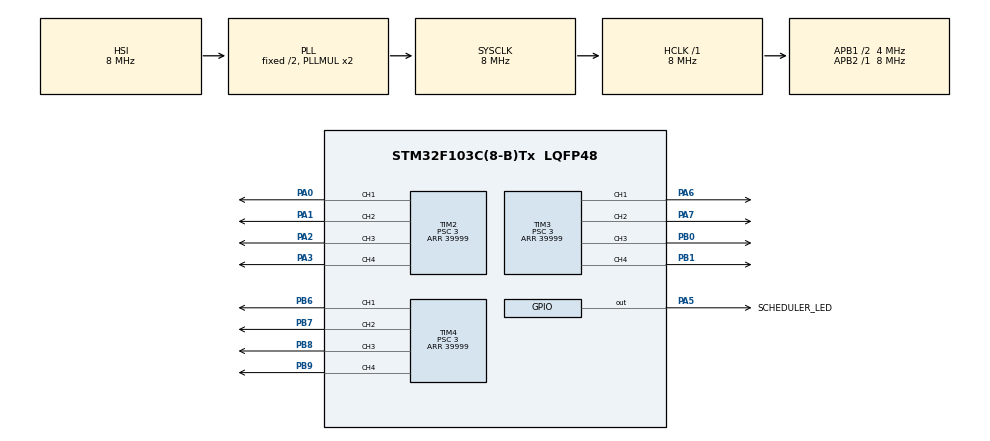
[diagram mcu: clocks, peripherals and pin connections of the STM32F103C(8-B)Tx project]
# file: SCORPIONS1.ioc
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Mcu.Family=STM32F1
Mcu.Name=STM32F103C(8-B)Tx
Mcu.Package=LQFP48
NVIC.PriorityGroup=NVIC_PRIORITYGROUP_4
NVIC.TIM1_BRK_IRQn=true\:0\:0\:false\:false\:true\:true\:true\:true
NVIC.TIM1_CC_IRQn=true\:0\:0\:false\:false\:true\:true\:true\:true
NVIC.TIM1_TRG_COM_IRQn=true\:0\:0\:false\:false\:true\:true\:true\:true
NVIC.TIM1_UP_IRQn=true\:0\:0\:false\:false\:true\:true\:true\:true
NVIC.TIM2_IRQn=true\:0\:0\:false\:false\:true\:true\:true\:true
NVIC.TIM3_IRQn=true\:0\:0\:false\:false\:true\:true\:true\:true
NVIC.TIM4_IRQn=true\:0\:0\:false\:false\:true\:true\:true\:true
PA0-WKUP.Signal=S_TIM2_CH1_ETR
PA1.Signal=S_TIM2_CH2
PA13.Mode=Serial_Wire
PA13.Signal=SYS_JTMS-SWDIO
PA14.Mode=Serial_Wire
PA14.Signal=SYS_JTCK-SWCLK
PA2.Signal=S_TIM2_CH3
PA3.Signal=S_TIM2_CH4
PA5.GPIO_Label=SCHEDULER_LED
PA5.Signal=GPIO_Output
PA6.Signal=S_TIM3_CH1
PA7.Signal=S_TIM3_CH2
PB0.Signal=S_TIM3_CH3
PB1.Signal=S_TIM3_CH4
PB6.Signal=S_TIM4_CH1
PB7.Signal=S_TIM4_CH2
PB8.Signal=S_TIM4_CH3
PB9.Signal=S_TIM4_CH4
ProjectManager.HeapSize=0x200
ProjectManager.StackSize=0x400
ProjectManager.TargetToolchain=STM32CubeIDE
RCC.AHBFreq_Value=8000000
RCC.APB1CLKDivider=RCC_HCLK_DIV2
RCC.APB1Freq_Value=4000000
RCC.APB1TimFreq_Value=8000000
RCC.APB2Freq_Value=8000000
RCC.APB2TimFreq_Value=8000000
RCC.HCLKFreq_Value=8000000
RCC.SYSCLKFreq_VALUE=8000000
RCC.SYSCLKSource=RCC_SYSCLKSOURCE_PLLCLK
RCC.USBFreq_Value=8000000
SH.S_TIM2_CH1_ETR.0=TIM2_CH1,PWM Generation1 CH1
SH.S_TIM2_CH2.0=TIM2_CH2,PWM Generation2 CH2
SH.S_TIM2_CH3.0=TIM2_CH3,PWM Generation3 CH3
SH.S_TIM2_CH4.0=TIM2_CH4,PWM Generation4 CH4
SH.S_TIM3_CH1.0=TIM3_CH1,PWM Generation1 CH1
SH.S_TIM3_CH2.0=TIM3_CH2,PWM Generation2 CH2
SH.S_TIM3_CH3.0=TIM3_CH3,PWM Generation3 CH3
SH.S_TIM3_CH4.0=TIM3_CH4,PWM Generation4 CH4
SH.S_TIM4_CH1.0=TIM4_CH1,PWM Generation1 CH1
SH.S_TIM4_CH2.0=TIM4_CH2,PWM Generation2 CH2
SH.S_TIM4_CH3.0=TIM4_CH3,PWM Generation3 CH3
SH.S_TIM4_CH4.0=TIM4_CH4,PWM Generation4 CH4
TIM1.Period=7999
TIM1.Prescaler=0
TIM2.Channel-PWM\ Generation1\ CH1=TIM_CHANNEL_1
TIM2.Channel-PWM\ Generation2\ CH2=TIM_CHANNEL_2
TIM2.Channel-PWM\ Generation3\ CH3=TIM_CHANNEL_3
TIM2.Channel-PWM\ Generation4\ CH4=TIM_CHANNEL_4
TIM2.Period=39999
TIM2.Prescaler=3
TIM3.Channel-PWM\ Generation1\ CH1=TIM_CHANNEL_1
TIM3.Channel-PWM\ Generation2\ CH2=TIM_CHANNEL_2
TIM3.Channel-PWM\ Generation3\ CH3=TIM_CHANNEL_3
TIM3.Channel-PWM\ Generation4\ CH4=TIM_CHANNEL_4
TIM3.Period=39999
TIM3.Prescaler=3
TIM4.Channel-PWM\ Generation1\ CH1=TIM_CHANNEL_1
TIM4.Channel-PWM\ Generation2\ CH2=TIM_CHANNEL_2
TIM4.Channel-PWM\ Generation3\ CH3=TIM_CHANNEL_3
TIM4.Channel-PWM\ Generation4\ CH4=TIM_CHANNEL_4
TIM4.Period=39999
TIM4.Prescaler=3
VP_TIM1_VS_ClockSourceINT.Mode=Internal
VP_TIM2_VS_ClockSourceINT.Mode=Internal
VP_TIM3_VS_ClockSourceINT.Mode=Internal
VP_TIM4_VS_ClockSourceINT.Mode=Internal
board=custom

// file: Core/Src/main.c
/* USER CODE BEGIN Header */
/**
  ******************************************************************************
  * @file           : main.c
  * @brief          : Main program body
  ******************************************************************************
  * @attention
  *
  * Copyright (c) 2024 STMicroelectronics.
  * All rights reserved.
  *
  * This software is licensed under terms that can be found in the LICENSE file
  * in the root directory of this software component.
  * If no LICENSE file comes with this software, it is provided AS-IS.
  *
  ******************************************************************************
  */
/* USER CODE END Header */
#include "main.h"

/* USER CODE BEGIN Includes */
#include <stdint.h>
#include "scheduler.h"
#include "servo.h"
#include "arm.h"
#include "robot.h"
#include "scorpions.h"
/* USER CODE END Includes */

TIM_HandleTypeDef htim1;
TIM_HandleTypeDef htim2;
TIM_HandleTypeDef htim3;
TIM_HandleTypeDef htim4;

void SystemClock_Config(void);
static void MX_GPIO_Init(void);
static void MX_TIM1_Init(void);
static void MX_TIM2_Init(void);
static void MX_TIM3_Init(void);
static void MX_TIM4_Init(void);

int main(void)
{

  /* MCU Configuration--------------------------------------------------------*/

  /* Reset of all peripherals, Initializes the Flash interface and the Systick. */
  HAL_Init();

  /* Configure the system clock */
  SystemClock_Config();

  /* Initialize all configured peripherals */
  MX_GPIO_Init();
  MX_TIM1_Init();
  MX_TIM2_Init();
  MX_TIM3_Init();
  MX_TIM4_Init();
  /* USER CODE BEGIN 2 */
  HAL_TIM_Base_Start_IT(&htim1);
  HAL_TIM_PWM_Start(&htim2, TIM_CHANNEL_1);
  HAL_TIM_PWM_Start(&htim2, TIM_CHANNEL_2);
  HAL_TIM_PWM_Start(&htim2, TIM_CHANNEL_3);
  HAL_TIM_PWM_Start(&htim2, TIM_CHANNEL_4);
  HAL_TIM_PWM_Start(&htim3, TIM_CHANNEL_1);
  HAL_TIM_PWM_Start(&htim3, TIM_CHANNEL_2);
  HAL_TIM_PWM_Start(&htim3, TIM_CHANNEL_3);
  HAL_TIM_PWM_Start(&htim3, TIM_CHANNEL_4);
  HAL_TIM_PWM_Start(&htim4, TIM_CHANNEL_1);
  HAL_TIM_PWM_Start(&htim4, TIM_CHANNEL_2);
  HAL_TIM_PWM_Start(&htim4, TIM_CHANNEL_3);
  HAL_TIM_PWM_Start(&htim4, TIM_CHANNEL_4);
  /* USER CODE END 2 */

  /* Infinite loop */
  /* USER CODE BEGIN WHILE */
  schedulerInit();
  robotInit();
  schedulerAddTask(robotBoot, NULL, 1000, 0);
  schedulerAddTask(scorpionsScramble, NULL, 30000, 0);
//  schedulerAddTask(robotTest, NULL, 1000, 8000);
  while (1)
  {
    /* USER CODE END WHILE */

    /* USER CODE BEGIN 3 */
	  schedulerDispatch();
  }
  /* USER CODE END 3 */
}

void SystemClock_Config(void)
{
  RCC_OscInitTypeDef RCC_OscInitStruct = {0};
  RCC_ClkInitTypeDef RCC_ClkInitStruct = {0};

  /** Initializes the RCC Oscillators according to the specified parameters
  * in the RCC_OscInitTypeDef structure.
  */
  RCC_OscInitStruct.OscillatorType = RCC_OSCILLATORTYPE_HSI;
  RCC_OscInitStruct.HSIState = RCC_HSI_ON;
  RCC_OscInitStruct.HSICalibrationValue = RCC_HSICALIBRATION_DEFAULT;
  RCC_OscInitStruct.PLL.PLLState = RCC_PLL_ON;
  RCC_OscInitStruct.PLL.PLLSource = RCC_PLLSOURCE_HSI_DIV2;
  RCC_OscInitStruct.PLL.PLLMUL = RCC_PLL_MUL2;
  if (HAL_RCC_OscConfig(&RCC_OscInitStruct) != HAL_OK)
  {
    Error_Handler();
  }

  /** Initializes the CPU, AHB and APB buses clocks
  */
  RCC_ClkInitStruct.ClockType = RCC_CLOCKTYPE_HCLK|RCC_CLOCKTYPE_SYSCLK
                              |RCC_CLOCKTYPE_PCLK1|RCC_CLOCKTYPE_PCLK2;
  RCC_ClkInitStruct.SYSCLKSource = RCC_SYSCLKSOURCE_PLLCLK;
  RCC_ClkInitStruct.AHBCLKDivider = RCC_SYSCLK_DIV1;
  RCC_ClkInitStruct.APB1CLKDivider = RCC_HCLK_DIV2;
  RCC_ClkInitStruct.APB2CLKDivider = RCC_HCLK_DIV1;

  if (HAL_RCC_ClockConfig(&RCC_ClkInitStruct, FLASH_LATENCY_0) != HAL_OK)
  {
    Error_Handler();
  }
}

static void MX_TIM1_Init(void)
{

  TIM_ClockConfigTypeDef sClockSourceConfig = {0};
  TIM_MasterConfigTypeDef sMasterConfig = {0};

  htim1.Instance = TIM1;
  htim1.Init.Prescaler = 0;
  htim1.Init.CounterMode = TIM_COUNTERMODE_UP;
  htim1.Init.Period = 7999;
  htim1.Init.ClockDivision = TIM_CLOCKDIVISION_DIV1;
  htim1.Init.RepetitionCounter = 0;
  htim1.Init.AutoReloadPreload = TIM_AUTORELOAD_PRELOAD_DISABLE;
  if (HAL_TIM_Base_Init(&htim1) != HAL_OK)
  {
    Error_Handler();
  }
  sClockSourceConfig.ClockSource = TIM_CLOCKSOURCE_INTERNAL;
  if (HAL_TIM_ConfigClockSource(&htim1, &sClockSourceConfig) != HAL_OK)
  {
    Error_Handler();
  }
  sMasterConfig.MasterOutputTrigger = TIM_TRGO_RESET;
  sMasterConfig.MasterSlaveMode = TIM_MASTERSLAVEMODE_DISABLE;
  if (HAL_TIMEx_MasterConfigSynchronization(&htim1, &sMasterConfig) != HAL_OK)
  {
    Error_Handler();
  }

}

static void MX_TIM2_Init(void)
{

  TIM_ClockConfigTypeDef sClockSourceConfig = {0};
  TIM_MasterConfigTypeDef sMasterConfig = {0};
  TIM_OC_InitTypeDef sConfigOC = {0};

  htim2.Instance = TIM2;
  htim2.Init.Prescaler = 3;
  htim2.Init.CounterMode = TIM_COUNTERMODE_UP;
  htim2.Init.Period = 39999;
  htim2.Init.ClockDivision = TIM_CLOCKDIVISION_DIV1;
  htim2.Init.AutoReloadPreload = TIM_AUTORELOAD_PRELOAD_DISABLE;
  if (HAL_TIM_Base_Init(&htim2) != HAL_OK)
  {
    Error_Handler();
  }
  sClockSourceConfig.ClockSource = TIM_CLOCKSOURCE_INTERNAL;
  if (HAL_TIM_ConfigClockSource(&htim2, &sClockSourceConfig) != HAL_OK)
  {
    Error_Handler();
  }
  if (HAL_TIM_PWM_Init(&htim2) != HAL_OK)
  {
    Error_Handler();
  }
  sMasterConfig.MasterOutputTrigger = TIM_TRGO_RESET;
  sMasterConfig.MasterSlaveMode = TIM_MASTERSLAVEMODE_DISABLE;
  if (HAL_TIMEx_MasterConfigSynchronization(&htim2, &sMasterConfig) != HAL_OK)
  {
    Error_Handler();
  }
  sConfigOC.OCMode = TIM_OCMODE_PWM1;
  sConfigOC.Pulse = 0;
  sConfigOC.OCPolarity = TIM_OCPOLARITY_HIGH;
  sConfigOC.OCFastMode = TIM_OCFAST_DISABLE;
  if (HAL_TIM_PWM_ConfigChannel(&htim2, &sConfigOC, TIM_CHANNEL_1) != HAL_OK)
  {
    Error_Handler();
  }
  if (HAL_TIM_PWM_ConfigChannel(&htim2, &sConfigOC, TIM_CHANNEL_2) != HAL_OK)
  {
    Error_Handler();
  }
  if (HAL_TIM_PWM_ConfigChannel(&htim2, &sConfigOC, TIM_CHANNEL_3) != HAL_OK)
  {
    Error_Handler();
  }
  if (HAL_TIM_PWM_ConfigChannel(&htim2, &sConfigOC, TIM_CHANNEL_4) != HAL_OK)
  {
    Error_Handler();
  }
  HAL_TIM_MspPostInit(&htim2);

}

static void MX_TIM3_Init(void)
{

  TIM_ClockConfigTypeDef sClockSourceConfig = {0};
  TIM_MasterConfigTypeDef sMasterConfig = {0};
  TIM_OC_InitTypeDef sConfigOC = {0};

  htim3.Instance = TIM3;
  htim3.Init.Prescaler = 3;
  htim3.Init.CounterMode = TIM_COUNTERMODE_UP;
  htim3.Init.Period = 39999;
  htim3.Init.ClockDivision = TIM_CLOCKDIVISION_DIV1;
  htim3.Init.AutoReloadPreload = TIM_AUTORELOAD_PRELOAD_DISABLE;
  if (HAL_TIM_Base_Init(&htim3) != HAL_OK)
  {
    Error_Handler();
  }
  sClockSourceConfig.ClockSource = TIM_CLOCKSOURCE_INTERNAL;
  if (HAL_TIM_ConfigClockSource(&htim3, &sClockSourceConfig) != HAL_OK)
  {
    Error_Handler();
  }
  if (HAL_TIM_PWM_Init(&htim3) != HAL_OK)
  {
    Error_Handler();
  }
  sMasterConfig.MasterOutputTrigger = TIM_TRGO_RESET;
  sMasterConfig.MasterSlaveMode = TIM_MASTERSLAVEMODE_DISABLE;
  if (HAL_TIMEx_MasterConfigSynchronization(&htim3, &sMasterConfig) != HAL_OK)
  {
    Error_Handler();
  }
  sConfigOC.OCMode = TIM_OCMODE_PWM1;
  sConfigOC.Pulse = 0;
  sConfigOC.OCPolarity = TIM_OCPOLARITY_HIGH;
  sConfigOC.OCFastMode = TIM_OCFAST_DISABLE;
  if (HAL_TIM_PWM_ConfigChannel(&htim3, &sConfigOC, TIM_CHANNEL_1) != HAL_OK)
  {
    Error_Handler();
  }
  if (HAL_TIM_PWM_ConfigChannel(&htim3, &sConfigOC, TIM_CHANNEL_2) != HAL_OK)
  {
    Error_Handler();
  }
  if (HAL_TIM_PWM_ConfigChannel(&htim3, &sConfigOC, TIM_CHANNEL_3) != HAL_OK)
  {
    Error_Handler();
  }
  if (HAL_TIM_PWM_ConfigChannel(&htim3, &sConfigOC, TIM_CHANNEL_4) != HAL_OK)
  {
    Error_Handler();
  }
  HAL_TIM_MspPostInit(&htim3);

}

static void MX_TIM4_Init(void)
{

  TIM_ClockConfigTypeDef sClockSourceConfig = {0};
  TIM_MasterConfigTypeDef sMasterConfig = {0};
  TIM_OC_InitTypeDef sConfigOC = {0};

  htim4.Instance = TIM4;
  htim4.Init.Prescaler = 3;
  htim4.Init.CounterMode = TIM_COUNTERMODE_UP;
  htim4.Init.Period = 39999;
  htim4.Init.ClockDivision = TIM_CLOCKDIVISION_DIV1;
  htim4.Init.AutoReloadPreload = TIM_AUTORELOAD_PRELOAD_DISABLE;
  if (HAL_TIM_Base_Init(&htim4) != HAL_OK)
  {
    Error_Handler();
  }
  sClockSourceConfig.ClockSource = TIM_CLOCKSOURCE_INTERNAL;
  if (HAL_TIM_ConfigClockSource(&htim4, &sClockSourceConfig) != HAL_OK)
  {
    Error_Handler();
  }
  if (HAL_TIM_PWM_Init(&htim4) != HAL_OK)
  {
    Error_Handler();
  }
  sMasterConfig.MasterOutputTrigger = TIM_TRGO_RESET;
  sMasterConfig.MasterSlaveMode = TIM_MASTERSLAVEMODE_DISABLE;
  if (HAL_TIMEx_MasterConfigSynchronization(&htim4, &sMasterConfig) != HAL_OK)
  {
    Error_Handler();
  }
  sConfigOC.OCMode = TIM_OCMODE_PWM1;
  sConfigOC.Pulse = 0;
  sConfigOC.OCPolarity = TIM_OCPOLARITY_HIGH;
  sConfigOC.OCFastMode = TIM_OCFAST_DISABLE;
  if (HAL_TIM_PWM_ConfigChannel(&htim4, &sConfigOC, TIM_CHANNEL_1) != HAL_OK)
  {
    Error_Handler();
  }
  if (HAL_TIM_PWM_ConfigChannel(&htim4, &sConfigOC, TIM_CHANNEL_2) != HAL_OK)
  {
    Error_Handler();
  }
  if (HAL_TIM_PWM_ConfigChannel(&htim4, &sConfigOC, TIM_CHANNEL_3) != HAL_OK)
  {
    Error_Handler();
  }
  if (HAL_TIM_PWM_ConfigChannel(&htim4, &sConfigOC, TIM_CHANNEL_4) != HAL_OK)
  {
    Error_Handler();
  }
  HAL_TIM_MspPostInit(&htim4);

}

static void MX_GPIO_Init(void)
{
  GPIO_InitTypeDef GPIO_InitStruct = {0};

  /* GPIO Ports Clock Enable */
  __HAL_RCC_GPIOA_CLK_ENABLE();
  __HAL_RCC_GPIOB_CLK_ENABLE();

  /*Configure GPIO pin Output Level */
  HAL_GPIO_WritePin(SCHEDULER_LED_GPIO_Port, SCHEDULER_LED_Pin, GPIO_PIN_RESET);

  /*Configure GPIO pin : SCHEDULER_LED_Pin */
  GPIO_InitStruct.Pin = SCHEDULER_LED_Pin;
  GPIO_InitStruct.Mode = GPIO_MODE_OUTPUT_PP;
  GPIO_InitStruct.Pull = GPIO_NOPULL;
  GPIO_InitStruct.Speed = GPIO_SPEED_FREQ_LOW;
  HAL_GPIO_Init(SCHEDULER_LED_GPIO_Port, &GPIO_InitStruct);

}

/* USER CODE BEGIN 4 */
void HAL_TIM_PeriodElapsedCallback(TIM_HandleTypeDef *htim) {
	if (htim->Instance == TIM1) {
		schedulerUpdate();
	}
}
/* USER CODE END 4 */

void Error_Handler(void)
{
  __disable_irq();
  while (1)
  {
  }
}
